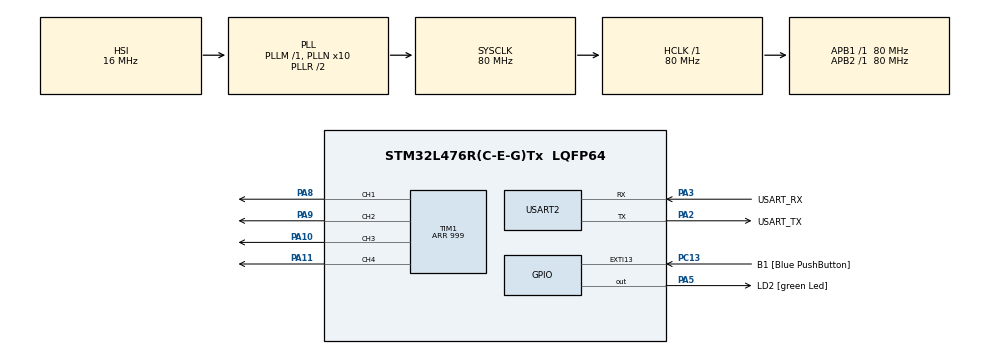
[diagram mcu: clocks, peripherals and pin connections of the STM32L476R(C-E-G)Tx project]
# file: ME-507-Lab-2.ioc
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Mcu.Family=STM32L4
Mcu.Name=STM32L476R(C-E-G)Tx
Mcu.Package=LQFP64
NVIC.PriorityGroup=NVIC_PRIORITYGROUP_4
NVIC.USART2_IRQn=true\:0\:0\:false\:false\:true\:true\:true\:true
PA10.Signal=S_TIM1_CH3
PA11.Signal=S_TIM1_CH4
PA13\ (JTMS-SWDIO).GPIO_Label=TMS
PA13\ (JTMS-SWDIO).Mode=Serial_Wire
PA13\ (JTMS-SWDIO).Signal=SYS_JTMS-SWDIO
PA14\ (JTCK-SWCLK).GPIO_Label=TCK
PA14\ (JTCK-SWCLK).Mode=Serial_Wire
PA14\ (JTCK-SWCLK).Signal=SYS_JTCK-SWCLK
PA2.GPIO_Label=USART_TX
PA2.GPIO_Mode=GPIO_MODE_AF_PP
PA2.GPIO_PuPd=GPIO_NOPULL
PA2.GPIO_Speed=GPIO_SPEED_FREQ_VERY_HIGH
PA2.Mode=Asynchronous
PA2.Signal=USART2_TX
PA3.GPIO_Label=USART_RX
PA3.GPIO_Mode=GPIO_MODE_AF_PP
PA3.GPIO_PuPd=GPIO_NOPULL
PA3.GPIO_Speed=GPIO_SPEED_FREQ_VERY_HIGH
PA3.Mode=Asynchronous
PA3.Signal=USART2_RX
PA5.GPIO_Label=LD2 [green Led]
PA5.GPIO_ModeDefaultOutputPP=GPIO_MODE_OUTPUT_PP
PA5.GPIO_PuPd=GPIO_NOPULL
PA5.GPIO_Speed=GPIO_SPEED_FREQ_LOW
PA5.Signal=GPIO_Output
PA8.Signal=S_TIM1_CH1
PA9.Signal=S_TIM1_CH2
PB3\ (JTDO-TRACESWO).GPIO_Label=SWO
PB3\ (JTDO-TRACESWO).Signal=SYS_JTDO-SWO
PC13.GPIO_Label=B1 [Blue PushButton]
PC13.GPIO_ModeDefaultEXTI=GPIO_MODE_IT_FALLING
PC13.GPIO_PuPd=GPIO_NOPULL
PC13.Signal=GPXTI13
PC14-OSC32_IN\ (PC14).Mode=LSE-External-Oscillator
PC14-OSC32_IN\ (PC14).Signal=RCC_OSC32_IN
PC15-OSC32_OUT\ (PC15).Mode=LSE-External-Oscillator
PC15-OSC32_OUT\ (PC15).Signal=RCC_OSC32_OUT
PH0-OSC_IN\ (PH0).Signal=RCC_OSC_IN
PH1-OSC_OUT\ (PH1).Signal=RCC_OSC_OUT
ProjectManager.HeapSize=0x200
ProjectManager.StackSize=0x400
ProjectManager.TargetToolchain=STM32CubeIDE
RCC.ADCFreq_Value=64000000
RCC.AHBFreq_Value=80000000
RCC.APB1Freq_Value=80000000
RCC.APB1TimFreq_Value=80000000
RCC.APB2Freq_Value=80000000
RCC.APB2TimFreq_Value=80000000
RCC.CortexFreq_Value=80000000
RCC.HCLKFreq_Value=80000000
RCC.HSE_VALUE=8000000
RCC.HSI_VALUE=16000000
RCC.MSI_VALUE=4000000
RCC.PLLN=10
RCC.PLLSourceVirtual=RCC_PLLSOURCE_HSI
RCC.PREFETCH_ENABLE=1
RCC.SYSCLKFreq_VALUE=80000000
RCC.SYSCLKSource=RCC_SYSCLKSOURCE_PLLCLK
RCC.USBFreq_Value=64000000
RCC.VCOOutputFreq_Value=160000000
SH.S_TIM1_CH1.0=TIM1_CH1,PWM Generation1 CH1
SH.S_TIM1_CH2.0=TIM1_CH2,PWM Generation2 CH2
SH.S_TIM1_CH3.0=TIM1_CH3,PWM Generation3 CH3
SH.S_TIM1_CH4.0=TIM1_CH4,PWM Generation4 CH4
TIM1.Channel-PWM\ Generation1\ CH1=TIM_CHANNEL_1
TIM1.Channel-PWM\ Generation2\ CH2=TIM_CHANNEL_2
TIM1.Channel-PWM\ Generation3\ CH3=TIM_CHANNEL_3
TIM1.Channel-PWM\ Generation4\ CH4=TIM_CHANNEL_4
TIM1.Period=999
TIM1.Pulse-PWM\ Generation1\ CH1=0
TIM1.Pulse-PWM\ Generation2\ CH2=0
TIM1.Pulse-PWM\ Generation3\ CH3=0
TIM1.Pulse-PWM\ Generation4\ CH4=0
USART2.VirtualMode-Asynchronous=VM_ASYNC
board=NUCLEO-L476RG

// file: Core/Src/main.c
/* USER CODE BEGIN Header */
/**
  ******************************************************************************
  * @file           : main.c
  * @brief          : Main program body
  ******************************************************************************
  * @attention
  *
  * Copyright (c) 2024 STMicroelectronics.
  * All rights reserved.
  *
  * This software is licensed under terms that can be found in the LICENSE file
  * in the root directory of this software component.
  * If no LICENSE file comes with this software, it is provided AS-IS.
  *
  ******************************************************************************
  */
/* USER CODE END Header */
#include "main.h"
#include <stdio.h>
#include <string.h>

/* USER CODE BEGIN Includes */

#include "motor.h"

/* USER CODE END Includes */

TIM_HandleTypeDef htim1;

UART_HandleTypeDef huart2;

/* USER CODE BEGIN PV */

//static volatile char msg[100] = "";
static volatile uint8_t rcvflg = 0;
static volatile uint8_t buff;

/* USER CODE END PV */

void SystemClock_Config(void);
static void MX_GPIO_Init(void);
static void MX_USART2_UART_Init(void);
static void MX_TIM1_Init(void);

int main(void)
{

  /* MCU Configuration--------------------------------------------------------*/

  /* Reset of all peripherals, Initializes the Flash interface and the Systick. */
  HAL_Init();

  /* Configure the system clock */
  SystemClock_Config();

  /* Initialize all configured peripherals */
  MX_GPIO_Init();
  MX_USART2_UART_Init();
  MX_TIM1_Init();
  /* USER CODE BEGIN 2 */

  // Helpful vars
  uint32_t len = 0; 						// Message length for UART
  char rcv[100] = ""; 						// Received characters buffer
  char msg[100] = "";						// Message to transmit over UART
  char frown[17] = "Invalid command.";		// Error message
  char dutychar[3] = ""; 					// Store slice of command containing duty
  char * dutychk1; 							// Ptr for checking duty char within 0-F
  char * dutychk2;							// Same as above for second digit
  char hexvalid[17] = "0123456789ABCDEF";	// List of valid duty chars
  char motchar[2] = "";						// Store slice of command containing motor select
  int8_t commduty; 							// Parse integer duty from motchar

  // Start timers
  HAL_TIM_PWM_Start(&htim1, TIM_CHANNEL_1);
  HAL_TIM_PWM_Start(&htim1, TIM_CHANNEL_2);
  HAL_TIM_PWM_Start(&htim1, TIM_CHANNEL_3);
  HAL_TIM_PWM_Start(&htim1, TIM_CHANNEL_4);

  // Make motors and disable them
  Motor_Str Spool_Mot =  {.duty           = 0,
                          .enable         = 0,
                          .timer          = &htim1,
                          .ChannelPair    = 1};
  motor_disable(&Spool_Mot);
  Motor_Str Table_Mot =  {.duty           = 0,
                          .enable         = 0,
                          .timer          = &htim1,
                          .ChannelPair    = 2};
  motor_disable(&Table_Mot);

  // Print to the console so we can see what's happening
  HAL_Delay(50);
  len = sprintf(&msg,"Powering on. Motors disabled.\r\nTimer 1 compare registers:\r\nCCR1: %ld\r\nCCR2: %ld\r\nCCR3: %ld\r\nCCR4: %ld\r\n", htim1.Instance->CCR1, htim1.Instance->CCR2, htim1.Instance->CCR3, htim1.Instance->CCR4);
  HAL_UART_Transmit_IT(&huart2, &msg, len);
  HAL_Delay(200);
  memset(&msg, '\0', 100);

  // Enable motors
  motor_enable(&Spool_Mot);
  motor_enable(&Table_Mot);
  len = sprintf(&msg,"Motors enabled.\r\nTimer 1 compare registers:\r\nCCR1: %ld\r\nCCR2: %ld\r\nCCR3: %ld\r\nCCR4: %ld\r\n", htim1.Instance->CCR1, htim1.Instance->CCR2, htim1.Instance->CCR3, htim1.Instance->CCR4);
  HAL_UART_Transmit_IT(&huart2, &msg, len);
  HAL_Delay(200);
  memset(&msg, '\0', 100);

  // Set the duty cycle
  //motor_set_duty(&Spool_Mot, +10);
  //motor_set_duty(&Table_Mot, -20);
  //len = sprintf(&msg,"Contents of htim1:\r\nCCR1: %ld\r\nCCR2: %ld\r\nCCR3: %ld\r\nCCR4: %ld\r\n", htim1.Instance->CCR1, htim1.Instance->CCR2, htim1.Instance->CCR3, htim1.Instance->CCR4);

  // Prompt user to enter commands
  len = sprintf(&msg,"Commands enabled. Enter using format <Mnxy>\r\nn = 1 | 2 (motor sel)\r\nxy = 00-FF (0x duty cycle)\r\n\n");
  HAL_UART_Transmit_IT(&huart2, &msg, len);
  HAL_Delay(200);
  memset(&msg, '\0', 100);
  /* USER CODE END 2 */

  /* Infinite loop */
  /* USER CODE BEGIN WHILE */
  while (1)
  {
	// Receive characters over UART
	HAL_UART_Receive_IT(&huart2, &buff, 1);
	// When a character comes in over UART
	if (rcvflg == 1){
		// Push the new character into rcv
		strcat(&rcv, &buff);
		// Get the length of rcv
		len = strlen(rcv);
		// Trigger on return key
		if (rcv[len-1] == '\r'){
			// Validate correct command format
			// Correct format
			if (rcv[0] == 'M' && len == 5){
				// Parse command string
				motchar[0] = rcv[1];
				dutychar[0] = rcv[2];
				dutychk1 = strchr(hexvalid, dutychar[0]);
				dutychar[1] = rcv[3];
				dutychk2 = strchr(hexvalid, dutychar[1]);
				commduty = strtol(&dutychar, NULL, 16);
				// Scale duty cycle
				if (commduty < 0){
					commduty = (int8_t) ((float)commduty / 128 * 100);
				} else {
					commduty = (int8_t) ((float)commduty / 127 * 100);
				}
				// Choose requested motor and validate duty
				if (motchar[0] == '1' && dutychk1 != NULL && dutychk2 != NULL){
					// Send duty cycle to spool motor
					motor_set_duty(&Spool_Mot, commduty);
					len = sprintf(&msg, "\nSetting spool motor (%s) to %d percent duty\r\n", motchar, commduty);
				} else if (motchar[0] == '2' && dutychk1 != NULL && dutychk2 != NULL){
					// Send duty cycle to table motor
					motor_set_duty(&Table_Mot, commduty);
					len = sprintf(&msg, "\nSetting table motor (%s) to %d percent duty\r\n", motchar, commduty);
				} else if (dutychk1 == NULL || dutychk2 == NULL){
					// Invalid duty cycle
					len = sprintf(&msg, "\n%s Valid duty cycle is a hex number 00-FF.\r\n", frown);
				} else {
					// Invalid motor number
					len = sprintf(&msg, "\n%s Valid motor args are 1 and 2.\r\n", frown);
				}
			// Wrong size input or didn't start with 'M'
			} else {
				// Set message to frown
				len = sprintf(&msg, "\n%s Did you backspace?\r\n", frown);
			}
			// Send command result message to terminal
			HAL_Delay(50);
			HAL_UART_Transmit_IT(&huart2, &msg, len);
			HAL_Delay(50);
			memset(&msg, '\0', 100);
			memset(&rcv, '\0', 100); // Clear the receive buffer!
		}
		// Lower the character received flag
		rcvflg = 0;
		// Update htim1 display in terminal
		len = sprintf(&msg,"Timer 1 compare registers:\r\nCCR1: %ld\r\nCCR2: %ld\r\nCCR3: %ld\r\nCCR4: %ld\r\n\n", htim1.Instance->CCR1, htim1.Instance->CCR2, htim1.Instance->CCR3, htim1.Instance->CCR4);
		HAL_UART_Transmit_IT(&huart2, &msg, len);
		HAL_Delay(50);
		memset(&msg, '\0', 100);
	}

    /* USER CODE END WHILE */

  }
}

void SystemClock_Config(void)
{
  RCC_OscInitTypeDef RCC_OscInitStruct = {0};
  RCC_ClkInitTypeDef RCC_ClkInitStruct = {0};

  /** Configure the main internal regulator output voltage
  */
  if (HAL_PWREx_ControlVoltageScaling(PWR_REGULATOR_VOLTAGE_SCALE1) != HAL_OK)
  {
    Error_Handler();
  }

  /** Initializes the RCC Oscillators according to the specified parameters
  * in the RCC_OscInitTypeDef structure.
  */
  RCC_OscInitStruct.OscillatorType = RCC_OSCILLATORTYPE_HSI;
  RCC_OscInitStruct.HSIState = RCC_HSI_ON;
  RCC_OscInitStruct.HSICalibrationValue = RCC_HSICALIBRATION_DEFAULT;
  RCC_OscInitStruct.PLL.PLLState = RCC_PLL_ON;
  RCC_OscInitStruct.PLL.PLLSource = RCC_PLLSOURCE_HSI;
  RCC_OscInitStruct.PLL.PLLM = 1;
  RCC_OscInitStruct.PLL.PLLN = 10;
  RCC_OscInitStruct.PLL.PLLP = RCC_PLLP_DIV7;
  RCC_OscInitStruct.PLL.PLLQ = RCC_PLLQ_DIV2;
  RCC_OscInitStruct.PLL.PLLR = RCC_PLLR_DIV2;
  if (HAL_RCC_OscConfig(&RCC_OscInitStruct) != HAL_OK)
  {
    Error_Handler();
  }

  /** Initializes the CPU, AHB and APB buses clocks
  */
  RCC_ClkInitStruct.ClockType = RCC_CLOCKTYPE_HCLK|RCC_CLOCKTYPE_SYSCLK
                              |RCC_CLOCKTYPE_PCLK1|RCC_CLOCKTYPE_PCLK2;
  RCC_ClkInitStruct.SYSCLKSource = RCC_SYSCLKSOURCE_PLLCLK;
  RCC_ClkInitStruct.AHBCLKDivider = RCC_SYSCLK_DIV1;
  RCC_ClkInitStruct.APB1CLKDivider = RCC_HCLK_DIV1;
  RCC_ClkInitStruct.APB2CLKDivider = RCC_HCLK_DIV1;

  if (HAL_RCC_ClockConfig(&RCC_ClkInitStruct, FLASH_LATENCY_4) != HAL_OK)
  {
    Error_Handler();
  }
}

static void MX_TIM1_Init(void)
{

  TIM_MasterConfigTypeDef sMasterConfig = {0};
  TIM_OC_InitTypeDef sConfigOC = {0};
  TIM_BreakDeadTimeConfigTypeDef sBreakDeadTimeConfig = {0};

  htim1.Instance = TIM1;
  htim1.Init.Prescaler = 0;
  htim1.Init.CounterMode = TIM_COUNTERMODE_UP;
  htim1.Init.Period = 999;
  htim1.Init.ClockDivision = TIM_CLOCKDIVISION_DIV1;
  htim1.Init.RepetitionCounter = 0;
  htim1.Init.AutoReloadPreload = TIM_AUTORELOAD_PRELOAD_DISABLE;
  if (HAL_TIM_PWM_Init(&htim1) != HAL_OK)
  {
    Error_Handler();
  }
  sMasterConfig.MasterOutputTrigger = TIM_TRGO_RESET;
  sMasterConfig.MasterOutputTrigger2 = TIM_TRGO2_RESET;
  sMasterConfig.MasterSlaveMode = TIM_MASTERSLAVEMODE_DISABLE;
  if (HAL_TIMEx_MasterConfigSynchronization(&htim1, &sMasterConfig) != HAL_OK)
  {
    Error_Handler();
  }
  sConfigOC.OCMode = TIM_OCMODE_PWM1;
  sConfigOC.Pulse = 0;
  sConfigOC.OCPolarity = TIM_OCPOLARITY_HIGH;
  sConfigOC.OCNPolarity = TIM_OCNPOLARITY_HIGH;
  sConfigOC.OCFastMode = TIM_OCFAST_DISABLE;
  sConfigOC.OCIdleState = TIM_OCIDLESTATE_RESET;
  sConfigOC.OCNIdleState = TIM_OCNIDLESTATE_RESET;
  if (HAL_TIM_PWM_ConfigChannel(&htim1, &sConfigOC, TIM_CHANNEL_1) != HAL_OK)
  {
    Error_Handler();
  }
  if (HAL_TIM_PWM_ConfigChannel(&htim1, &sConfigOC, TIM_CHANNEL_2) != HAL_OK)
  {
    Error_Handler();
  }
  if (HAL_TIM_PWM_ConfigChannel(&htim1, &sConfigOC, TIM_CHANNEL_3) != HAL_OK)
  {
    Error_Handler();
  }
  if (HAL_TIM_PWM_ConfigChannel(&htim1, &sConfigOC, TIM_CHANNEL_4) != HAL_OK)
  {
    Error_Handler();
  }
  sBreakDeadTimeConfig.OffStateRunMode = TIM_OSSR_DISABLE;
  sBreakDeadTimeConfig.OffStateIDLEMode = TIM_OSSI_DISABLE;
  sBreakDeadTimeConfig.LockLevel = TIM_LOCKLEVEL_OFF;
  sBreakDeadTimeConfig.DeadTime = 0;
  sBreakDeadTimeConfig.BreakState = TIM_BREAK_DISABLE;
  sBreakDeadTimeConfig.BreakPolarity = TIM_BREAKPOLARITY_HIGH;
  sBreakDeadTimeConfig.BreakFilter = 0;
  sBreakDeadTimeConfig.Break2State = TIM_BREAK2_DISABLE;
  sBreakDeadTimeConfig.Break2Polarity = TIM_BREAK2POLARITY_HIGH;
  sBreakDeadTimeConfig.Break2Filter = 0;
  sBreakDeadTimeConfig.AutomaticOutput = TIM_AUTOMATICOUTPUT_DISABLE;
  if (HAL_TIMEx_ConfigBreakDeadTime(&htim1, &sBreakDeadTimeConfig) != HAL_OK)
  {
    Error_Handler();
  }
  HAL_TIM_MspPostInit(&htim1);

}

static void MX_USART2_UART_Init(void)
{

  huart2.Instance = USART2;
  huart2.Init.BaudRate = 115200;
  huart2.Init.WordLength = UART_WORDLENGTH_8B;
  huart2.Init.StopBits = UART_STOPBITS_1;
  huart2.Init.Parity = UART_PARITY_NONE;
  huart2.Init.Mode = UART_MODE_TX_RX;
  huart2.Init.HwFlowCtl = UART_HWCONTROL_NONE;
  huart2.Init.OverSampling = UART_OVERSAMPLING_16;
  huart2.Init.OneBitSampling = UART_ONE_BIT_SAMPLE_DISABLE;
  huart2.AdvancedInit.AdvFeatureInit = UART_ADVFEATURE_NO_INIT;
  if (HAL_UART_Init(&huart2) != HAL_OK)
  {
    Error_Handler();
  }

}

static void MX_GPIO_Init(void)
{
  GPIO_InitTypeDef GPIO_InitStruct = {0};

  /* GPIO Ports Clock Enable */
  __HAL_RCC_GPIOC_CLK_ENABLE();
  __HAL_RCC_GPIOH_CLK_ENABLE();
  __HAL_RCC_GPIOA_CLK_ENABLE();
  __HAL_RCC_GPIOB_CLK_ENABLE();

  /*Configure GPIO pin Output Level */
  HAL_GPIO_WritePin(LD2_GPIO_Port, LD2_Pin, GPIO_PIN_RESET);

  /*Configure GPIO pin : B1_Pin */
  GPIO_InitStruct.Pin = B1_Pin;
  GPIO_InitStruct.Mode = GPIO_MODE_IT_FALLING;
  GPIO_InitStruct.Pull = GPIO_NOPULL;
  HAL_GPIO_Init(B1_GPIO_Port, &GPIO_InitStruct);

  /*Configure GPIO pin : LD2_Pin */
  GPIO_InitStruct.Pin = LD2_Pin;
  GPIO_InitStruct.Mode = GPIO_MODE_OUTPUT_PP;
  GPIO_InitStruct.Pull = GPIO_NOPULL;
  GPIO_InitStruct.Speed = GPIO_SPEED_FREQ_LOW;
  HAL_GPIO_Init(LD2_GPIO_Port, &GPIO_InitStruct);

}

/* USER CODE BEGIN 4 */

// Receive CB fxn
void HAL_UART_RxCpltCallback(UART_HandleTypeDef *huart){
	// This is required?
	UNUSED(huart);
	// Signal to main code that a character was received
	rcvflg = 1;
	// Parrot character to terminal
	HAL_UART_Transmit_IT(&huart2, &buff, 1);
}

/* USER CODE END 4 */

void Error_Handler(void)
{
  __disable_irq();
  while (1)
  {
  }
}
